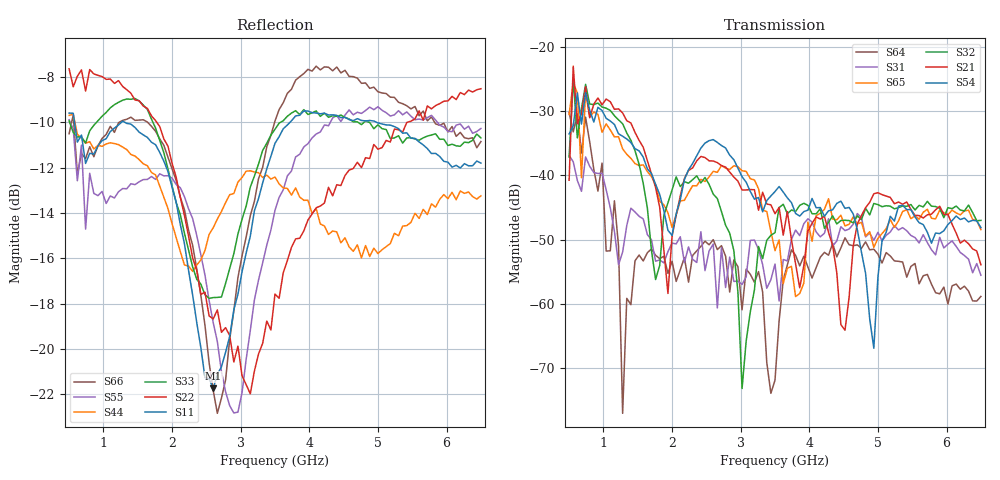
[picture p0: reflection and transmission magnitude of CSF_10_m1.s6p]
!Keysight Technologies,M9804A,MY58100912,A.14.10.03
!Date: Thursday, April 27, 2023 10:28:33
!Correction: S11(C  6-Port  )
!S12(C  6-Port  )
!S13(C  6-Port  )
!S14(C  6-Port  )
!S15(C  6-Port  )
!S16(C  6-Port  )
!S21(C  6-Port  )
!S22(C  6-Port  )
!S23(C  6-Port  )
!S24(C  6-Port  )
!S25(C  6-Port  )
!S26(C  6-Port  )
!S31(C  6-Port  )
!S32(C  6-Port  )
!S33(C  6-Port  )
!S34(C  6-Port  )
!S35(C  6-Port  )
!S36(C  6-Port  )
!S41(C  6-Port  )
!S42(C  6-Port  )
!S43(C  6-Port  )
!S44(C  6-Port  )
!S45(C  6-Port  )
!S46(C  6-Port  )
!S51(C  6-Port  )
!S52(C  6-Port  )
!S53(C  6-Port  )
!S54(C  6-Port  )
!S55(C  6-Port  )
!S56(C  6-Port  )
!S61(C  6-Port  )
!S62(C  6-Port  )
!S63(C  6-Port  )
!S64(C  6-Port  )
!S65(C  6-Port  )
!S66(C  6-Port  )
!S6P File: Measurement: :
# Hz S  RI  R 50
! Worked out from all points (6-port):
!   101 points, 500 MHz to 6.5 GHz, reference 50 ohm
!   strongest paths, dB at 500 MHz, 2 GHz, 3.5 GHz, 5 GHz, 6.5 GHz:
!     S54: -33.6, -49.3, -42.5, -55.8, -48.1
!     S21: -40.8, -49.5, -46.0, -42.7, -53.9
!     S32: -37.2, -42.3, -48.9, -44.6, -47.0
!     S65: -30.5, -48.1, -51.7, -49.8, -48.5
!     S31: -36.9, -50.5, -53.8, -48.9, -55.5
!     S64: -30.2, -53.4, -71.9, -52.3, -58.8
!   lowest |S11| = -21.7 dB at 2.6 GHz (marker M1), VSWR 1.18, Z = 42.7 + j1.99 ohm
!   |S11| at or under -10 dB: 579 MHz to 1.259 GHz (679.9 MHz wide, 74 % of centre); 1.315 GHz to 3.716 GHz (2.401 GHz wide, 95.4 % of centre); 4.986 GHz to end of sweep
